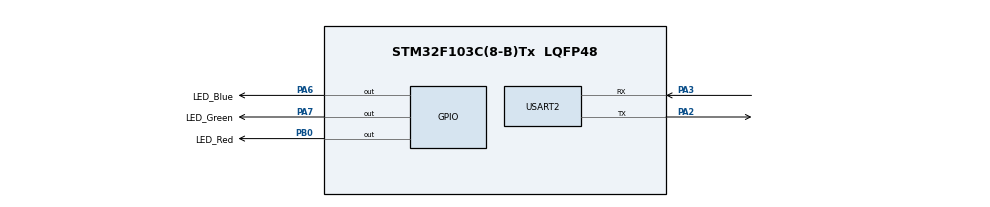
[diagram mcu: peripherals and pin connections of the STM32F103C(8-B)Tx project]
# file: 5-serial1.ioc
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Dma.Request0=USART2_TX
Dma.Request1=USART2_RX
Dma.USART2_RX.1.Direction=DMA_PERIPH_TO_MEMORY
Dma.USART2_RX.1.Instance=DMA1_Channel6
Dma.USART2_RX.1.MemDataAlignment=DMA_MDATAALIGN_BYTE
Dma.USART2_RX.1.MemInc=DMA_MINC_ENABLE
Dma.USART2_RX.1.Mode=DMA_NORMAL
Dma.USART2_RX.1.PeriphDataAlignment=DMA_PDATAALIGN_BYTE
Dma.USART2_RX.1.PeriphInc=DMA_PINC_DISABLE
Dma.USART2_RX.1.Priority=DMA_PRIORITY_LOW
Dma.USART2_TX.0.Direction=DMA_MEMORY_TO_PERIPH
Dma.USART2_TX.0.Instance=DMA1_Channel7
Dma.USART2_TX.0.MemDataAlignment=DMA_MDATAALIGN_BYTE
Dma.USART2_TX.0.MemInc=DMA_MINC_ENABLE
Dma.USART2_TX.0.Mode=DMA_NORMAL
Dma.USART2_TX.0.PeriphDataAlignment=DMA_PDATAALIGN_BYTE
Dma.USART2_TX.0.PeriphInc=DMA_PINC_DISABLE
Dma.USART2_TX.0.Priority=DMA_PRIORITY_LOW
Mcu.Family=STM32F1
Mcu.Name=STM32F103C(8-B)Tx
Mcu.Package=LQFP48
NVIC.DMA1_Channel6_IRQn=true\:0\:0\:false\:false\:true\:false\:true\:true
NVIC.DMA1_Channel7_IRQn=true\:0\:0\:false\:false\:true\:false\:true\:true
NVIC.PriorityGroup=NVIC_PRIORITYGROUP_4
NVIC.USART2_IRQn=true\:0\:0\:false\:false\:true\:true\:true\:true
PA13.Mode=Serial_Wire
PA13.Signal=SYS_JTMS-SWDIO
PA14.Mode=Serial_Wire
PA14.Signal=SYS_JTCK-SWCLK
PA2.Mode=Asynchronous
PA2.Signal=USART2_TX
PA3.Mode=Asynchronous
PA3.Signal=USART2_RX
PA6.GPIO_Label=LED_Blue
PA6.Signal=GPIO_Output
PA7.GPIO_Label=LED_Green
PA7.Signal=GPIO_Output
PB0.GPIO_Label=LED_Red
PB0.Signal=GPIO_Output
ProjectManager.HeapSize=0x200
ProjectManager.StackSize=0x400
ProjectManager.TargetToolchain=STM32CubeIDE
RCC.APB1Freq_Value=8000000
RCC.APB2Freq_Value=8000000
USART2.VirtualMode=VM_ASYNC
board=custom

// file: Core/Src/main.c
/* USER CODE BEGIN Header */
/**
  ******************************************************************************
  * @file           : main.c
  * @brief          : Main program body
  ******************************************************************************
  * @attention
  *
  * Copyright (c) 2025 STMicroelectronics.
  * All rights reserved.
  *
  * This software is licensed under terms that can be found in the LICENSE file
  * in the root directory of this software component.
  * If no LICENSE file comes with this software, it is provided AS-IS.
  *
  ******************************************************************************
  */
/* USER CODE END Header */
#include "main.h"

UART_HandleTypeDef huart2;
DMA_HandleTypeDef hdma_usart2_tx;
DMA_HandleTypeDef hdma_usart2_rx;

/* USER CODE BEGIN PV */
uint8_t receiveData[50];
/* USER CODE END PV */

void SystemClock_Config(void);
static void MX_GPIO_Init(void);
static void MX_DMA_Init(void);
static void MX_USART2_UART_Init(void);

/* USER CODE BEGIN 0 */
void HAL_UART_RxCpltCallback(UART_HandleTypeDef *huart){
	  HAL_UART_Transmit_DMA(&huart2, receiveData, 2);
	  GPIO_PinState state = GPIO_PIN_SET;
	  if( receiveData[1] == '0' ){
		  state = GPIO_PIN_RESET;
	  }

	  if( receiveData[0]  == 'R' ){
		  HAL_GPIO_WritePin(LED_Red_GPIO_Port, LED_Red_Pin, state);
	  }else  if( receiveData[0]  == 'G' ){
		  HAL_GPIO_WritePin(LED_Green_GPIO_Port, LED_Green_Pin, state);
	  }else  if( receiveData[0]  == 'B' ){
		  HAL_GPIO_WritePin(LED_Blue_GPIO_Port, LED_Blue_Pin, state);
	  }
	  HAL_UART_Receive_DMA(&huart2, receiveData, 2);
}
void HAL_UARTEx_RxEventCallback(UART_HandleTypeDef *huart, uint16_t Size){
	if( huart == &huart2 ){
		HAL_UART_Transmit_DMA(&huart2, receiveData, Size);
		  GPIO_PinState state = GPIO_PIN_SET;
		  if( receiveData[1] == '0' ){
			  state = GPIO_PIN_RESET;
		  }

		  if( receiveData[0]  == 'R' ){
			  HAL_GPIO_WritePin(LED_Red_GPIO_Port, LED_Red_Pin, state);
		  }else  if( receiveData[0]  == 'G' ){
			  HAL_GPIO_WritePin(LED_Green_GPIO_Port, LED_Green_Pin, state);
		  }else  if( receiveData[0]  == 'B' ){
			  HAL_GPIO_WritePin(LED_Blue_GPIO_Port, LED_Blue_Pin, state);
		  }
		HAL_UARTEx_ReceiveToIdle_DMA(&huart2, receiveData, sizeof(receiveData));
		__HAL_DMA_DISABLE_IT(&hdma_usart2_rx, DMA_IT_HT);
	}
}
/* USER CODE END 0 */

int main(void)
{

  /* MCU Configuration--------------------------------------------------------*/

  /* Reset of all peripherals, Initializes the Flash interface and the Systick. */
  HAL_Init();

  /* Configure the system clock */
  SystemClock_Config();

  /* Initialize all configured peripherals */
  MX_GPIO_Init();
  MX_DMA_Init();
  MX_USART2_UART_Init();
  /* USER CODE BEGIN 2 */
//char message[] = "hello";
 // HAL_UART_Receive_DMA(&huart2, receiveData, 2);
  HAL_UARTEx_ReceiveToIdle_DMA(&huart2, receiveData, sizeof(receiveData));
  __HAL_DMA_DISABLE_IT(&hdma_usart2_rx, DMA_IT_HT);
  /* USER CODE END 2 */

  /* Infinite loop */
  /* USER CODE BEGIN WHILE */
  while (1)
  {
//	  HAL_UART_Receive(&huart2, receiveData, 2, HAL_MAX_DELAY);

	  //HAL_UART_Transmit(&huart2, receiveData, 2, 100);

    /* USER CODE END WHILE */

  }
}

void SystemClock_Config(void)
{
  RCC_OscInitTypeDef RCC_OscInitStruct = {0};
  RCC_ClkInitTypeDef RCC_ClkInitStruct = {0};

  /** Initializes the RCC Oscillators according to the specified parameters
  * in the RCC_OscInitTypeDef structure.
  */
  RCC_OscInitStruct.OscillatorType = RCC_OSCILLATORTYPE_HSI;
  RCC_OscInitStruct.HSIState = RCC_HSI_ON;
  RCC_OscInitStruct.HSICalibrationValue = RCC_HSICALIBRATION_DEFAULT;
  RCC_OscInitStruct.PLL.PLLState = RCC_PLL_NONE;
  if (HAL_RCC_OscConfig(&RCC_OscInitStruct) != HAL_OK)
  {
    Error_Handler();
  }

  /** Initializes the CPU, AHB and APB buses clocks
  */
  RCC_ClkInitStruct.ClockType = RCC_CLOCKTYPE_HCLK|RCC_CLOCKTYPE_SYSCLK
                              |RCC_CLOCKTYPE_PCLK1|RCC_CLOCKTYPE_PCLK2;
  RCC_ClkInitStruct.SYSCLKSource = RCC_SYSCLKSOURCE_HSI;
  RCC_ClkInitStruct.AHBCLKDivider = RCC_SYSCLK_DIV1;
  RCC_ClkInitStruct.APB1CLKDivider = RCC_HCLK_DIV1;
  RCC_ClkInitStruct.APB2CLKDivider = RCC_HCLK_DIV1;

  if (HAL_RCC_ClockConfig(&RCC_ClkInitStruct, FLASH_LATENCY_0) != HAL_OK)
  {
    Error_Handler();
  }
}

static void MX_USART2_UART_Init(void)
{

  huart2.Instance = USART2;
  huart2.Init.BaudRate = 115200;
  huart2.Init.WordLength = UART_WORDLENGTH_8B;
  huart2.Init.StopBits = UART_STOPBITS_1;
  huart2.Init.Parity = UART_PARITY_NONE;
  huart2.Init.Mode = UART_MODE_TX_RX;
  huart2.Init.HwFlowCtl = UART_HWCONTROL_NONE;
  huart2.Init.OverSampling = UART_OVERSAMPLING_16;
  if (HAL_UART_Init(&huart2) != HAL_OK)
  {
    Error_Handler();
  }

}

static void MX_DMA_Init(void)
{

  /* DMA controller clock enable */
  __HAL_RCC_DMA1_CLK_ENABLE();

  /* DMA interrupt init */
  /* DMA1_Channel6_IRQn interrupt configuration */
  HAL_NVIC_SetPriority(DMA1_Channel6_IRQn, 0, 0);
  HAL_NVIC_EnableIRQ(DMA1_Channel6_IRQn);
  /* DMA1_Channel7_IRQn interrupt configuration */
  HAL_NVIC_SetPriority(DMA1_Channel7_IRQn, 0, 0);
  HAL_NVIC_EnableIRQ(DMA1_Channel7_IRQn);

}

static void MX_GPIO_Init(void)
{
  GPIO_InitTypeDef GPIO_InitStruct = {0};

  /* GPIO Ports Clock Enable */
  __HAL_RCC_GPIOA_CLK_ENABLE();
  __HAL_RCC_GPIOB_CLK_ENABLE();

  /*Configure GPIO pin Output Level */
  HAL_GPIO_WritePin(GPIOA, LED_Blue_Pin|LED_Green_Pin, GPIO_PIN_RESET);

  /*Configure GPIO pin Output Level */
  HAL_GPIO_WritePin(LED_Red_GPIO_Port, LED_Red_Pin, GPIO_PIN_RESET);

  /*Configure GPIO pins : LED_Blue_Pin LED_Green_Pin */
  GPIO_InitStruct.Pin = LED_Blue_Pin|LED_Green_Pin;
  GPIO_InitStruct.Mode = GPIO_MODE_OUTPUT_PP;
  GPIO_InitStruct.Pull = GPIO_NOPULL;
  GPIO_InitStruct.Speed = GPIO_SPEED_FREQ_LOW;
  HAL_GPIO_Init(GPIOA, &GPIO_InitStruct);

  /*Configure GPIO pin : LED_Red_Pin */
  GPIO_InitStruct.Pin = LED_Red_Pin;
  GPIO_InitStruct.Mode = GPIO_MODE_OUTPUT_PP;
  GPIO_InitStruct.Pull = GPIO_NOPULL;
  GPIO_InitStruct.Speed = GPIO_SPEED_FREQ_LOW;
  HAL_GPIO_Init(LED_Red_GPIO_Port, &GPIO_InitStruct);

}

void Error_Handler(void)
{
  __disable_irq();
  while (1)
  {
  }
}
